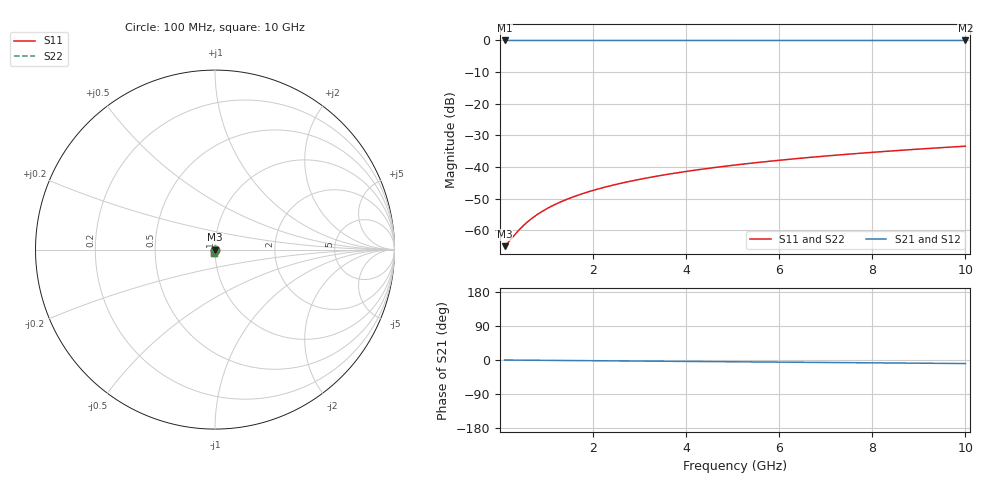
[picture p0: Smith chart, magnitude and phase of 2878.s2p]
# Hz S RI R 50.00
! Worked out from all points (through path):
!   100 points, 100 MHz to 10 GHz, reference 50 ohm
!   highest |S21| = 0.00 dB at 100 MHz (marker M1); lowest = 0.0 dB at 10 GHz (marker M2)
!   group delay of S21, straight-line fit = 2.6 ps
!   lowest |S11| = -65.0 dB at 100 MHz (marker M3), VSWR 1.00, Z = 50.1 - j0.0213 ohm
!   |S11| at or under -10 dB: start of sweep to end of sweep
!   |S22| runs from -65.0 to -33.4 dB; largest |S21 - S12| = 0
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1e8  0.000522 -0.000213  0.9995 -0.00162  0.9995 -0.00162  0.000522 -0.000213
2e8  0.000523 -0.000426  0.9995 -0.00324  0.9995 -0.00324  0.000523 -0.000426
4e8  0.000522 -0.000851  0.9994 -0.00649  0.9994 -0.00649  0.000522 -0.000851
5e8  0.00052 -0.00106  0.9994 -0.00811  0.9994 -0.00811  0.00052 -0.00106
6e8  0.000517 -0.00128  0.9994 -0.00973  0.9994 -0.00973  0.000517 -0.00128
7e8  0.000513 -0.00149  0.9994 -0.0114  0.9994 -0.0114  0.000513 -0.00149
8e8  0.000508 -0.0017  0.9994 -0.013  0.9994 -0.013  0.000508 -0.0017
1e9  0.000497 -0.00213  0.9993 -0.0162  0.9993 -0.0162  0.000497 -0.00213
1.2e9  0.000482 -0.00255  0.9993 -0.0195  0.9993 -0.0195  0.000482 -0.00255
1.5e9  0.000454 -0.00319  0.9991 -0.0243  0.9991 -0.0243  0.000454 -0.00319
1.8e9  0.00042 -0.00383  0.999 -0.0292  0.999 -0.0292  0.00042 -0.00383
2.1e9  0.00038 -0.00447  0.9988 -0.0341  0.9988 -0.0341  0.00038 -0.00447
2.5e9  0.000316 -0.00533  0.9986 -0.0406  0.9986 -0.0406  0.000316 -0.00533
2.9e9  0.00024 -0.00618  0.9983 -0.047  0.9983 -0.047  0.00024 -0.00618
3.4e9  0.00013 -0.00725  0.9979 -0.0552  0.9979 -0.0552  0.00013 -0.00725
4.2e9  -8.22e-05 -0.00895  0.997 -0.0682  0.997 -0.0682  -8.22e-05 -0.00895
5.1e9  -0.000375 -0.0109  0.9959 -0.0828  0.9959 -0.0828  -0.000375 -0.0109
5.9e9  -0.000683 -0.0126  0.9947 -0.0958  0.9947 -0.0958  -0.000683 -0.0126
6.7e9  -0.00104 -0.0143  0.9933 -0.1088  0.9933 -0.1088  -0.00104 -0.0143
7.5e9  -0.00143 -0.016  0.9918 -0.1217  0.9918 -0.1217  -0.00143 -0.016
8.4e9  -0.00193 -0.0178  0.9898 -0.1364  0.9898 -0.1364  -0.00193 -0.0178
1e10  -0.00296 -0.0212  0.9858 -0.1623  0.9858 -0.1623  -0.00296 -0.0212
